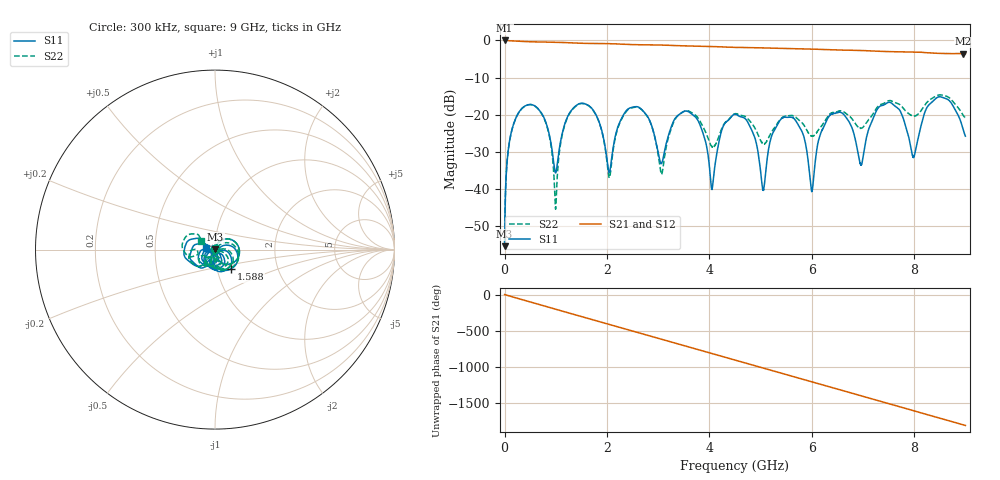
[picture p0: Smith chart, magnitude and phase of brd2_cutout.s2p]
!Agilent Technologies,E8803A,US42160105,A.06.04.32
!Agilent E8803A: A.06.04.32
!Date: Wednesday, April 19, 2023 22:24:53
!Correction: S11(Full 2 Port(1,2)) S21(Full 2 Port(1,2)) S12(Full 2 Port(1,2)) S22(Full 2 Port(1,2))
!S2P File: Measurements: S11, S21, S12, S22:
# Hz S  dB  R 50
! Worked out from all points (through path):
!   6401 points, 300 kHz to 9 GHz, reference 50 ohm
!   highest |S21| = -0.02 dB at 300 kHz (marker M1); lowest = -3.6 dB at 8.961 GHz (marker M2)
!   group delay of S21, straight-line fit = 557 ps
!   lowest |S11| = -55.3 dB at 300 kHz (marker M3), VSWR 1.00, Z = 50.2 + j0.0626 ohm
!   |S11| at or under -10 dB: start of sweep to end of sweep
!   |S22| runs from -55.1 to -14.6 dB; largest |S21 - S12| = 0.0037
!   S11 on the Smith chart (normalised r, x): 300 kHz: 1.00, +0.00; 1.588 GHz: 1.17, -0.25; 9 GHz: 0.90, +0.02
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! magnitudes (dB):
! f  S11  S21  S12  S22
! 300 kHz  -55.3  0.0  0.0  -55.1
! 287.2 MHz  -19.2  -0.2  -0.2  -19.2
! 755.4 MHz  -20.4  -0.4  -0.4  -20.5
! 997.3 MHz  -35.6  -0.5  -0.5  -45.3
! 1.501 GHz  -16.9  -0.8  -0.8  -17.0
! 1.588 GHz  -17.1  -0.8  -0.8  -17.2
! 2.042 GHz  -35.5  -0.9  -0.9  -36.9
! 2.477 GHz  -18.0  -1.1  -1.1  -18.2
! 3.001 GHz  -30.2  -1.2  -1.2  -30.7
! 3.595 GHz  -19.2  -1.5  -1.5  -19.0
! 4.054 GHz  -39.9  -1.6  -1.7  -28.6
! 4.5 GHz  -19.9  -1.9  -1.9  -19.7
! 5.05 GHz  -40.3  -2.0  -2.0  -27.8
! 5.649 GHz  -21.0  -2.3  -2.3  -20.3
! 6.001 GHz  -40.6  -2.4  -2.3  -25.7
! 6.354 GHz  -20.1  -2.5  -2.5  -19.8
! 6.961 GHz  -33.4  -2.7  -2.7  -23.6
! 7.501 GHz  -16.7  -3.0  -3.0  -16.2
! 7.983 GHz  -31.4  -3.1  -3.1  -20.3
! 8.459 GHz  -15.3  -3.5  -3.5  -14.8
! 8.961 GHz  -24.1  -3.6  -3.6  -20.2
! 9 GHz  -25.7  -3.6  -3.6  -20.8
